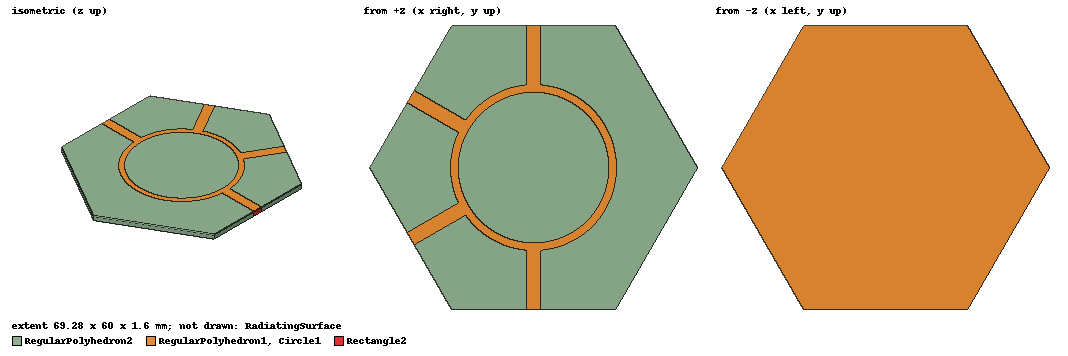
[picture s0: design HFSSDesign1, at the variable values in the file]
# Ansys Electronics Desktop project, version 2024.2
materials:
  vacuum: permittivity=1
  FR4_epoxy: permittivity=4.4 dielectric_loss_tangent=0.02

design HFSSDesign1 (HFSS, HFSS Terminal Network, model units mm)
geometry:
  Circle1 = circle(normal=Z, centre=(0mm, 0mm, 0mm), radius=17.52mm)
  Circle2 = circle(normal=Z, centre=(0mm, 0mm, 0mm), radius=15.9mm)
  Circle1.subtract(Circle2)
  Rectangle1 = rectangle(corner=(-1.5mm, -30mm, 0mm), x_size=3mm, y_size=14mm)
  Rectangle1_1 = Rectangle1.duplicate_around_axis(axis=Z, angle=60deg, total=2)
  Rectangle1_2 = Rectangle1.duplicate_around_axis(axis=Z, angle=120deg, total=2)
  Rectangle1_3 = Rectangle1.duplicate_around_axis(axis=Z, angle=180deg, total=2)
  Circle1.unite(Rectangle1, Rectangle1_1, Rectangle1_2, Rectangle1_3)
  RegularPolyhedron1 [vacuum] = polyhedron(axis=Z, centre=(0mm, 0mm, 0mm), first_corner=(30mm/cos(30*pi/180), 0mm, 0mm), sides=6, height=0mm)
  RegularPolyhedron2 [FR4_epoxy] = polyhedron(axis=Z, centre=(0mm, 0mm, 0mm), first_corner=(30mm/cos(30*pi/180), 0mm, 0mm), sides=6, height=-1.6mm)
  RegularPolyhedron1.move(0mm, 0mm, -1.6mm)
  Rectangle2 = rectangle(corner=(-1.5mm, -30mm, 0mm), z_size=-1.6mm, x_size=3mm)
  Rectangle3 = rectangle(corner=(1.5mm, 30mm, 0mm), z_size=-1.6mm, x_size=-3mm)
  RegularPolyhedron2.rotate(axis=Z, angle=60deg)
  [Circle1, RegularPolyhedron1, RegularPolyhedron2, Rectangle2, Rectangle3].rotate(axis=Z, angle=60deg)
  Rectangle4 = rectangle(corner=(1.5mm, 30mm, 0mm), z_size=-1.6mm, x_size=-3mm)
  [Circle1, RegularPolyhedron1, RegularPolyhedron2, Rectangle2, Rectangle3, Rectangle4].rotate(axis=Z, angle=60deg)
  Rectangle5 = rectangle(corner=(1.5mm, 30mm, 0mm), z_size=-1.6mm, x_size=-3mm)
  [Circle1, RegularPolyhedron1, RegularPolyhedron2, Rectangle2..Rectangle5].rotate(axis=Z, angle=60deg)
  RadiatingSurface [vacuum] = region(absolute_offset=41.666667mm on all sides)
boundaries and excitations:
  PerfE1: Perfect E Objects=RegularPolyhedron1
  PerfE2: Perfect E Objects=Circle1
  Open1: Radiation Objects=RadiatingSurface
  1: Lumped Port Faces=Rectangle3.face(at (0, -30, -0.8)) LumpedPortType=Modal Modes{Mode1{IntLine{(0, -30, -1.6) -> (0, -30, 0)} CharImp=Zpi}} Impedance=50ohm
  2: Lumped Port Faces=Rectangle4.face(at (-25.9808, -15, -0.8)) LumpedPortType=Modal Modes{Mode1{IntLine{(-25.980762, -15, -1.6) -> (-25.980762, -15, 0)} CharImp=Zpi}} Impedance=50ohm
  3: Lumped Port Faces=Rectangle5.face(at (-25.9808, 15, -0.8)) LumpedPortType=Modal Modes{Mode1{IntLine{(-26.355762, 14.350481, -1.6) -> (-26.380762, 14.30718, 0)} CharImp=Zpi}} Impedance=50ohm
  4: Lumped Port Objects=Rectangle2 LumpedPortType=Modal Modes{Mode1{IntLine{(0, 30, -1.6) -> (0, 30, 0)} CharImp=Zpi}} Impedance=50ohm
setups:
  Setup1: HfssDriven Frequency=2.4GHz MaxDeltaS=0.02 MaximumPasses=6 MinimumPasses=1 MinimumConvergedPasses=1 PercentRefinement=30 BasisOrder=1 PortAccuracy=2 DrivenSolverType="Direct Solver"
    sweep Sweep: 1.2GHz to 3.6GHz, 401 points; Type=Interpolating InterpTolerance=0.5 InterpMaxSolns=250 PassivityErrorTolerance=0.0001
  Setup2: HfssDriven Frequency=2.4GHz MaxDeltaS=0.02 MaximumPasses=6 MinimumPasses=1 MinimumConvergedPasses=1 PercentRefinement=30 BasisOrder=1 PortAccuracy=2 DrivenSolverType="Direct Solver"
    sweep Sweep: 1GHz to 5GHz, 100 points; Type=Interpolating InterpTolerance=0.5 InterpMaxSolns=250 PassivityErrorTolerance=0.0001
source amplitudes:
  1:1: 1V 0deg
  2:1, 3:1, 4:1: 0V 0deg
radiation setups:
  3D: Infinite Sphere Theta=0deg..180deg step 2deg Phi=-180deg..180deg step 2deg
  Elevation: Infinite Sphere Theta=-180deg..180deg step 1deg Phi=0deg..90deg step 90deg
  Azimuth: Infinite Sphere Theta=90deg..90deg step 0deg Phi=-180deg..180deg step 1deg
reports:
  S Parameter Plot 1: dB(S(1,1)), dB(S(2,1)), dB(S(1,2)), dB(S(2,2)) vs Freq on Setup2 : Sweep
